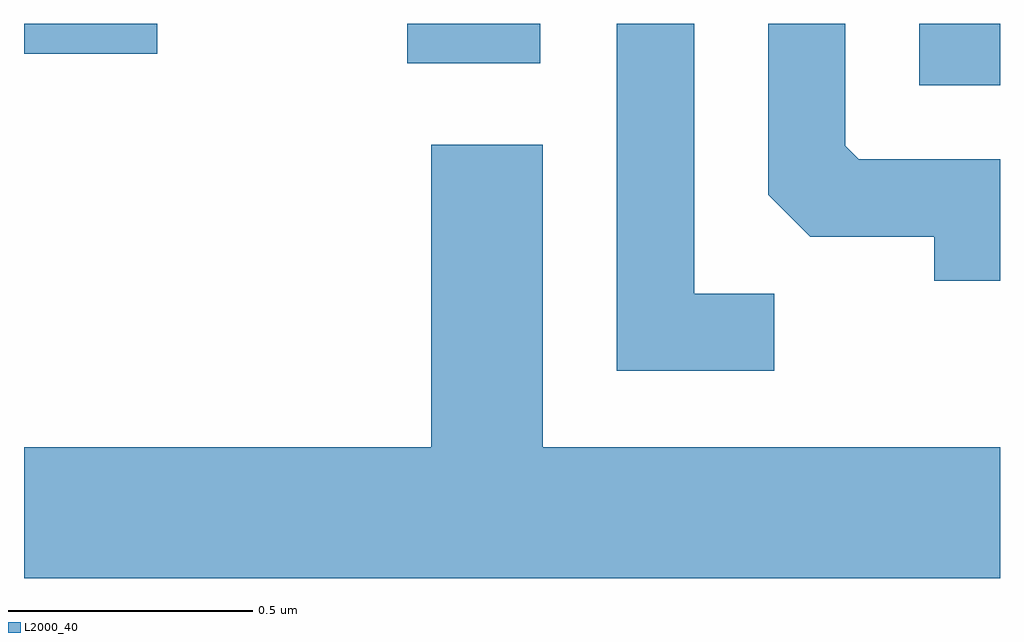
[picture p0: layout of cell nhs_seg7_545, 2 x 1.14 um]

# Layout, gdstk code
import gdstk
lib = gdstk.Library(unit=1e-6, precision=1e-09)
def R(c, l, rs):  # rectangles x0, y0, x1, y1
    for r in rs: c.add(gdstk.rectangle(r[:2], r[2:], *l))
def P(c, l, *ps):  # polygons
    for p in ps: c.add(gdstk.Polygon(p, *l))
L2000_40 = (2000, 40)

nhs_seg7_545 = lib.new_cell('nhs_seg7_545')
R(nhs_seg7_545, L2000_40, [(190.446,1804.126,190.611,1804.252), (189.396,1804.171,189.669,1804.252), (188.611,1804.191,188.884,1804.252)])
P(nhs_seg7_545, L2000_40, [(190.611,1803.974),(190.322,1803.974),(190.294,1804.002),(190.294,1804.252),(190.136,1804.252),(190.136,1803.902),(190.222,1803.816),(190.476,1803.816),(190.476,1803.726),(190.611,1803.726)],
  [(190.148,1803.699),(189.984,1803.699),(189.984,1804.252),(189.826,1804.252),(189.826,1803.541),(190.148,1803.541)],
  [(190.611,1803.384),(189.674,1803.384),(189.674,1804.004),(189.446,1804.004),(189.446,1803.384),(188.611,1803.384),(188.611,1803.116),(190.611,1803.116)])

lib.write_gds('nhs_seg7_545.gds')
